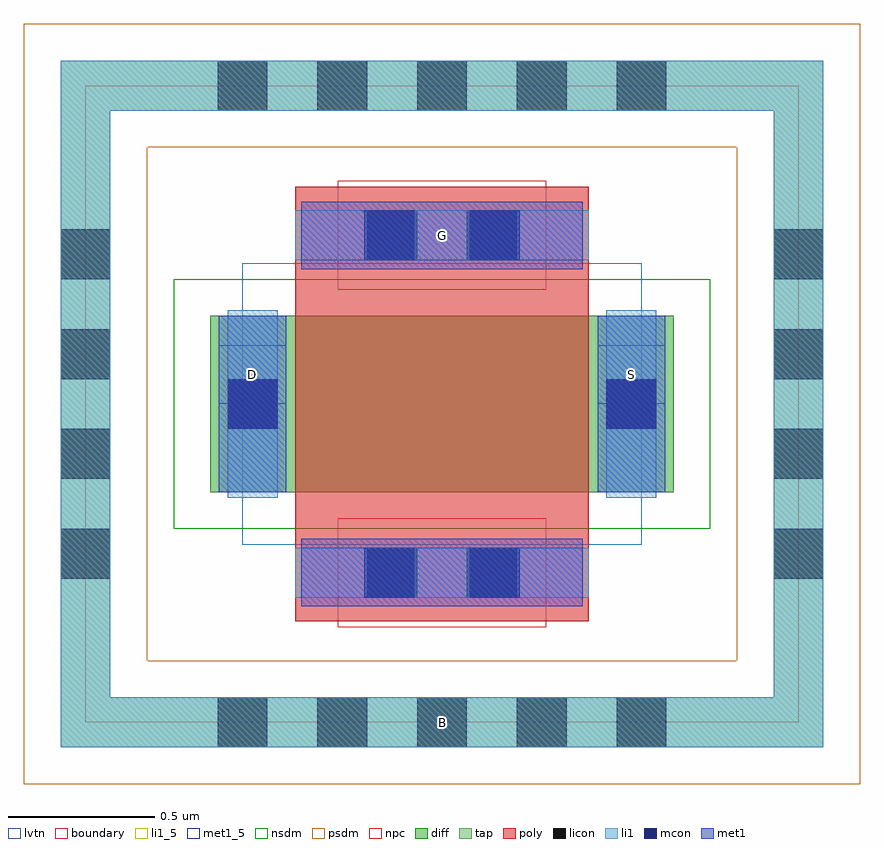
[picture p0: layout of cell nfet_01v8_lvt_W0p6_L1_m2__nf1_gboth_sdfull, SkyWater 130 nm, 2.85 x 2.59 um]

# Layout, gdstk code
import gdstk
lib = gdstk.Library(unit=1e-6, precision=1e-09)
def R(c, l, rs):  # rectangles x0, y0, x1, y1
    for r in rs: c.add(gdstk.rectangle(r[:2], r[2:], *l))
def A(c, l, x, y, w, h, nx, ny, dx, dy):  # array of equal rectangles
    R(c, l, [(x+i*dx, y+j*dy, x+i*dx+w, y+j*dy+h) for i in range(nx) for j in range(ny)])
diff = (65, 20)
tap = (65, 44)
poly = (66, 20)
licon = (66, 44)
li1_5 = (67, 5)
li1 = (67, 20)
mcon = (67, 44)
met1_5 = (68, 5)
met1 = (68, 20)
nsdm = (93, 44)
psdm = (94, 20)
npc = (95, 20)
lvtn = (125, 44)
boundary = (235, 4)

sky130_fd_pr__nfet_01v8_ = lib.new_cell('sky130_fd_pr__nfet_01v8_lvt_UAYY5M')
R(sky130_fd_pr__nfet_01v8_, diff, [(-0.79,-0.3,0.79,0.3)])
R(sky130_fd_pr__nfet_01v8_, tap, [(-1.3,-1.17,1.3,-1), (-1.3,-1,-1.13,1), (1.13,-1,1.3,1), (-1.3,1,1.3,1.17)])
R(sky130_fd_pr__nfet_01v8_, poly, [(-0.5,-0.74,0.5,0.74)])
A(sky130_fd_pr__nfet_01v8_, licon, -0.765, -1.17, 0.17, 0.17, 5, 2, 0.34, 2.17)
A(sky130_fd_pr__nfet_01v8_, licon, -1.3, -0.595, 0.17, 0.17, 1, 4, 0, 0.34)
A(sky130_fd_pr__nfet_01v8_, licon, 1.13, -0.595, 0.17, 0.17, 1, 4, 0, 0.34)
R(sky130_fd_pr__nfet_01v8_, licon, [(-0.255,-0.66,-0.085,-0.49), (0.085,-0.66,0.255,-0.49), (-0.73,-0.085,-0.56,0.085), (0.56,-0.085,0.73,0.085), (-0.255,0.49,-0.085,0.66), (0.085,0.49,0.255,0.66)])
R(sky130_fd_pr__nfet_01v8_, li1, [(-1.3,-1.17,1.3,-1), (-1.3,-1,-1.13,1), (1.13,-1,1.3,1), (-0.5,-0.66,0.5,-0.49), (-0.73,-0.32,-0.56,0.32), (0.56,-0.32,0.73,0.32), (-0.5,0.49,0.5,0.66), (-1.3,1,1.3,1.17)])
R(sky130_fd_pr__nfet_01v8_, mcon, [(-0.265,-0.66,-0.095,-0.49), (0.095,-0.66,0.265,-0.49), (-0.73,-0.085,-0.56,0.085), (0.56,-0.085,0.73,0.085), (-0.265,0.49,-0.095,0.66), (0.095,0.49,0.265,0.66)])
R(sky130_fd_pr__nfet_01v8_, met1, [(-0.48,-0.69,0.48,-0.46), (-0.76,-0.3,-0.53,0.3), (0.53,-0.3,0.76,0.3), (-0.48,0.46,0.48,0.69)])
R(sky130_fd_pr__nfet_01v8_, nsdm, [(-0.915,-0.425,0.915,0.425)])
R(sky130_fd_pr__nfet_01v8_, psdm, [(-1.425,-1.295,1.425,-0.875), (-1.425,-0.875,-1.005,0.875), (1.005,-0.875,1.425,0.875), (-1.425,0.875,1.425,1.295)])
R(sky130_fd_pr__nfet_01v8_, npc, [(-0.355,-0.76,0.355,-0.39), (-0.355,0.39,0.355,0.76)])
R(sky130_fd_pr__nfet_01v8_, lvtn, [(-0.68,-0.48,0.68,0.48)])
R(sky130_fd_pr__nfet_01v8_, boundary, [(-1.215,-1.085,1.215,1.085)])
sky130_fd_pr__nfet_01v8_.add(gdstk.Label('B', (0,-1.085), layer=67, texttype=5))
sky130_fd_pr__nfet_01v8_.add(gdstk.Label('D', (-0.645,0), layer=67, texttype=5))
sky130_fd_pr__nfet_01v8_.add(gdstk.Label('S', (0.645,0), layer=67, texttype=5))
sky130_fd_pr__nfet_01v8_.add(gdstk.Label('G', (0,0.575), layer=67, texttype=5))

nfet_01v8_lvt_w0p6_l1_m2 = lib.new_cell('nfet_01v8_lvt_W0p6_L1_m2__nf1_gboth_sdfull')
R(nfet_01v8_lvt_w0p6_l1_m2, li1_5, [(1.13,-0.085,1.3,0.085)])
R(nfet_01v8_lvt_w0p6_l1_m2, li1, [(1.13,-0.085,1.3,0.085)])
R(nfet_01v8_lvt_w0p6_l1_m2, met1_5, [(0.455,1.085,0.685,1.285), (1.745,1.085,1.975,1.285), (0.735,1.545,1.695,1.775)])
R(nfet_01v8_lvt_w0p6_l1_m2, met1, [(0.455,1.085,0.685,1.285), (1.745,1.085,1.975,1.285), (0.735,1.545,1.695,1.775)])
nfet_01v8_lvt_w0p6_l1_m2.add(gdstk.Reference(sky130_fd_pr__nfet_01v8_, (1.215,1.085)))
nfet_01v8_lvt_w0p6_l1_m2.add(gdstk.Label('D', (0.57,1.185), layer=68, texttype=5))
nfet_01v8_lvt_w0p6_l1_m2.add(gdstk.Label('S', (1.86,1.185), layer=68, texttype=5))
nfet_01v8_lvt_w0p6_l1_m2.add(gdstk.Label('G', (1.215,1.66), layer=68, texttype=5))
nfet_01v8_lvt_w0p6_l1_m2.add(gdstk.Label('B', (1.215,0), layer=67, texttype=5))

lib.write_gds('nfet_01v8_lvt_W0p6_L1_m2__nf1_gboth_sdfull.gds')
